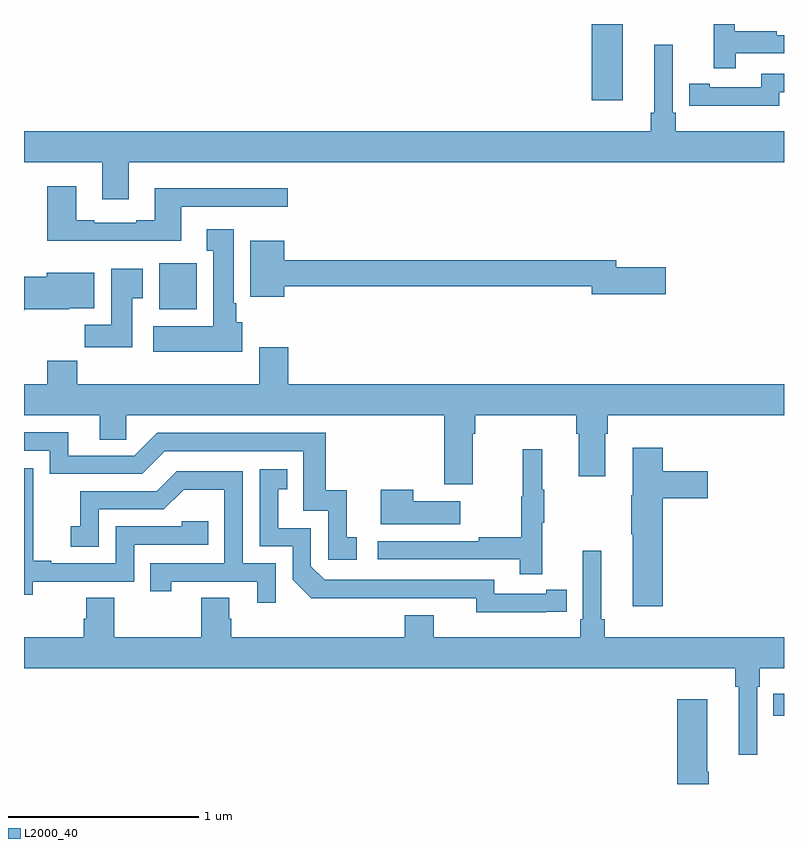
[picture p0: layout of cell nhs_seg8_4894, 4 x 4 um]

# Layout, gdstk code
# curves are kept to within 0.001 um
import gdstk
lib = gdstk.Library(unit=1e-6, precision=1e-09)
def R(c, l, rs):  # rectangles x0, y0, x1, y1
    for r in rs: c.add(gdstk.rectangle(r[:2], r[2:], *l))
def P(c, l, *ps):  # polygons
    for p in ps: c.add(gdstk.Polygon(p, *l))
L2000_40 = (2000, 40)

nhs_seg8_4894 = lib.new_cell('nhs_seg8_4894')
R(nhs_seg8_4894, L2000_40, [(410.944,1108.258,411,1108.374), (407.711,1110.398,407.908,1110.64), (409.988,1111.5,410.152,1111.9)])
P(nhs_seg8_4894, L2000_40, [(410.747,1111.746),(411,1111.746),(411,1111.842),(410.963,1111.842),(410.963,1111.862),(410.74,1111.862),(410.74,1111.9),(410.63,1111.9),(410.63,1111.668),(410.747,1111.668)],
  [(407.551,1111.172),(411,1111.172),(411,1111.336),(410.429,1111.336),(410.429,1111.432),(410.415,1111.432),(410.415,1111.792),(410.318,1111.792),(410.318,1111.432),(410.299,1111.432),(410.299,1111.336),(407,1111.336),(407,1111.172),(407.411,1111.172),(407.411,1110.978),(407.551,1110.978)],
  [(410.976,1111.542),(411,1111.542),(411,1111.638),(410.88,1111.638),(410.88,1111.566),(410.608,1111.566),(410.608,1111.586),(410.5,1111.586),(410.5,1111.47),(410.608,1111.47),(410.608,1111.469),(410.976,1111.469)],
  [(407.827,1110.939),(408.388,1110.939),(408.388,1111.036),(407.687,1111.036),(407.687,1110.868),(407.591,1110.868),(407.591,1110.855),(407.371,1110.855),(407.371,1110.868),(407.275,1110.868),(407.275,1111.045),(407.123,1111.045),(407.123,1110.758),(407.827,1110.758)],
  [(408.148,1110.33),(408.118,1110.33),(408.118,1110.43),(408.103,1110.43),(408.103,1110.82),(407.963,1110.82),(407.963,1110.707),(407.996,1110.707),(407.996,1110.31),(407.679,1110.31),(407.679,1110.176),(408.148,1110.176)],
  [(408.37,1110.52),(409.988,1110.52),(409.988,1110.478),(410.377,1110.478),(410.377,1110.62),(410.116,1110.62),(410.116,1110.656),(408.37,1110.656),(408.37,1110.76),(408.191,1110.76),(408.191,1110.464),(408.37,1110.464)],
  [(407.569,1110.457),(407.626,1110.457),(407.626,1110.613),(407.459,1110.613),(407.459,1110.316),(407.32,1110.316),(407.32,1110.198),(407.569,1110.198)],
  [(407.002,1110.398),(407.238,1110.398),(407.238,1110.404),(407.371,1110.404),(407.371,1110.592),(407.12,1110.592),(407.12,1110.569),(407,1110.569),(407,1110.391),(407.002,1110.391)],
  [(409.363,1109.744),(409.376,1109.744),(409.376,1109.84),(409.907,1109.84),(409.907,1109.744),(409.919,1109.744),(409.919,1109.52),(410.059,1109.52),(410.059,1109.744),(410.072,1109.744),(410.072,1109.84),(411,1109.84),(411,1110.004),(408.392,1110.004),(408.392,1110.199),(408.239,1110.199),(408.239,1110.004),(407.279,1110.004),(407.279,1110.128),(407.123,1110.128),(407.123,1110.004),(407,1110.004),(407,1109.84),(407.399,1109.84),(407.399,1109.713),(407.538,1109.713),(407.538,1109.84),(409.211,1109.84),(409.211,1109.478),(409.363,1109.478)],
  [(408.751,1109.199),(408.698,1109.199),(408.698,1109.446),(408.587,1109.446),(408.587,1109.748),(407.7,1109.748),(407.58,1109.628),(407.233,1109.628),(407.233,1109.751),(407,1109.751),(407,1109.655),(407.136,1109.655),(407.136,1109.532),(407.622,1109.532),(407.742,1109.652),(408.471,1109.652),(408.471,1109.337),(408.6,1109.337),(408.6,1109.079),(408.751,1109.079)],
  [(410.363,1109.405),(410.599,1109.405),(410.599,1109.547),(410.363,1109.547),(410.363,1109.671),(410.204,1109.671),(410.204,1109.421),(410.197,1109.421),(410.197,1109.215),(410.204,1109.215),(410.204,1108.836),(410.363,1108.836)],
  [(409.727,1109.275),(409.738,1109.275),(409.738,1109.449),(409.727,1109.449),(409.727,1109.662),(409.624,1109.662),(409.624,1109.412),(409.617,1109.412),(409.617,1109.198),(409.393,1109.198),(409.393,1109.178),(408.861,1109.178),(408.861,1109.082),(409.609,1109.082),(409.609,1109.004),(409.727,1109.004)],
  [(407.046,1108.965),(407.58,1108.965),(407.58,1109.16),(407.969,1109.16),(407.969,1109.283),(407.829,1109.283),(407.829,1109.256),(407.484,1109.256),(407.484,1109.061),(407.143,1109.061),(407.143,1109.074),(407.048,1109.074),(407.048,1109.357),(407.049,1109.357),(407.049,1109.563),(407,1109.563),(407,1108.897),(407.046,1108.897)],
  [(409.748,1108.806),(409.856,1108.806),(409.856,1108.922),(409.748,1108.922),(409.748,1108.902),(409.476,1108.902),(409.476,1108.974),(408.582,1108.974),(408.51,1109.046),(408.51,1109.247),(408.337,1109.247),(408.337,1109.451),(408.386,1109.451),(408.386,1109.557),(408.24,1109.557),(408.24,1109.151),(408.414,1109.151),(408.414,1108.974),(408.512,1108.877),(409.38,1108.878),(409.38,1108.805)],
  [(408.324,1109.061),(408.15,1109.061),(408.15,1109.547),(407.804,1109.547),(407.699,1109.442),(407.296,1109.442),(407.296,1109.257),(407.247,1109.257),(407.247,1109.148),(407.394,1109.148),(407.394,1109.346),(407.736,1109.346),(407.84,1109.45),(408.054,1109.45),(408.054,1109.061),(407.665,1109.061),(407.665,1108.914),(407.776,1108.914),(407.776,1108.965),(408.227,1108.965),(408.227,1108.854),(408.324,1108.854)],
  [(409.297,1109.389),(409.049,1109.389),(409.049,1109.449),(408.878,1109.449),(408.878,1109.267),(409.297,1109.267)],
  [(410.859,1108.412),(410.873,1108.412),(410.873,1108.508),(411,1108.508),(411,1108.672),(410.057,1108.672),(410.057,1108.768),(410.038,1108.768),(410.038,1109.128),(409.941,1109.128),(409.941,1108.768),(409.928,1108.768),(409.928,1108.672),(409.156,1108.672),(409.156,1108.789),(409.004,1108.789),(409.004,1108.672),(408.092,1108.672),(408.092,1108.77),(408.079,1108.77),(408.079,1108.88),(407.932,1108.88),(407.932,1108.672),(407.475,1108.672),(407.475,1108.88),(407.327,1108.88),(407.327,1108.77),(407.315,1108.77),(407.315,1108.672),(407,1108.672),(407,1108.508),(410.743,1108.508),(410.743,1108.412),(410.762,1108.412),(410.762,1108.053),(410.859,1108.053)],
  [(410.604,1107.965),(410.596,1107.965),(410.596,1108.345),(410.438,1108.345),(410.438,1107.9),(410.604,1107.9)])

lib.write_gds('nhs_seg8_4894.gds')
